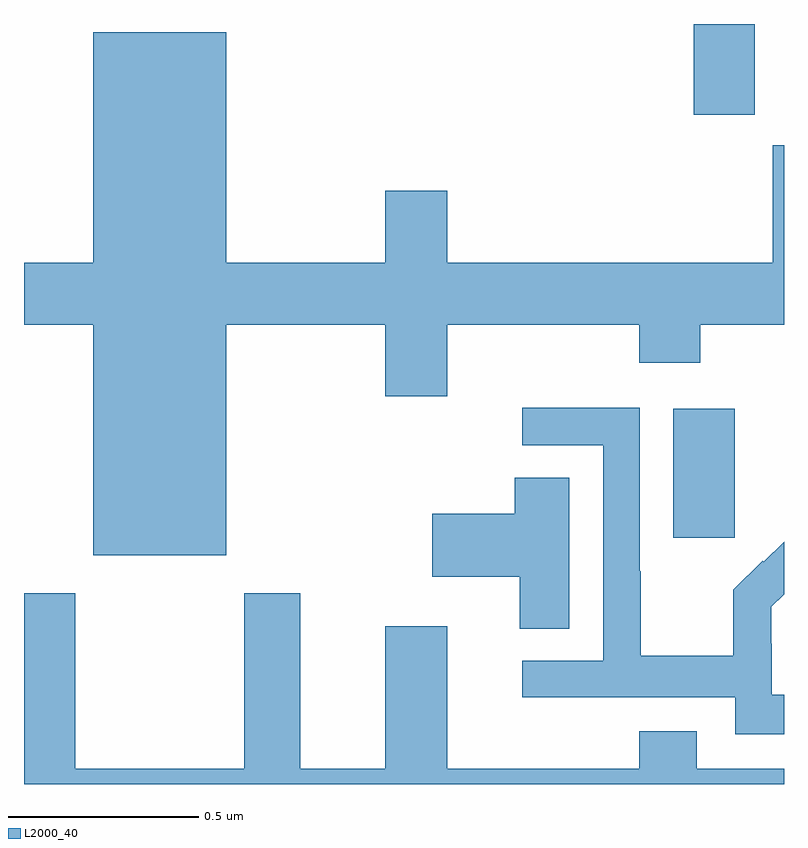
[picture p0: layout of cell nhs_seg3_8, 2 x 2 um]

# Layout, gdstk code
import gdstk
lib = gdstk.Library(unit=1e-6, precision=1e-09)
def R(c, l, rs):  # rectangles x0, y0, x1, y1
    for r in rs: c.add(gdstk.rectangle(r[:2], r[2:], *l))
def P(c, l, *ps):  # polygons
    for p in ps: c.add(gdstk.Polygon(p, *l))
L2000_40 = (2000, 40)

nhs_seg3_8 = lib.new_cell('nhs_seg3_8')
R(nhs_seg3_8, L2000_40, [(112.709,675.048,112.87,675.388), (112.763,676.161,112.923,676.4)])
P(nhs_seg3_8, L2000_40, [(111.532,675.608),(111.95,675.608),(111.95,675.42),(112.114,675.42),(112.114,675.608),(112.619,675.608),(112.619,675.509),(112.779,675.509),(112.779,675.608),(113,675.608),(113,676.081),(112.97,676.081),(112.97,675.772),(112.114,675.772),(112.114,675.961),(111.95,675.961),(111.95,675.772),(111.532,675.772),(111.532,676.378),(111.182,676.378),(111.182,675.772),(111,675.772),(111,675.608),(111.182,675.608),(111.182,675.002),(111.532,675.002)],
  [(113,674.635),(112.968,674.635),(112.968,674.769),(112.966,674.769),(112.966,674.866),(113,674.9),(113,675.038),(112.947,674.985),(112.944,674.988),(112.867,674.911),(112.867,674.737),(112.623,674.737),(112.623,674.96),(112.62,674.96),(112.62,675.39),(112.311,675.39),(112.311,675.291),(112.524,675.291),(112.524,674.724),(112.311,674.724),(112.311,674.628),(112.872,674.628),(112.872,674.531),(113,674.531)],
  [(112.435,675.206),(112.292,675.206),(112.292,675.111),(112.074,675.111),(112.074,674.945),(112.304,674.945),(112.304,674.809),(112.435,674.809)],
  [(113,674.44),(112.771,674.44),(112.771,674.539),(112.619,674.539),(112.619,674.44),(112.114,674.44),(112.114,674.815),(111.95,674.815),(111.95,674.44),(111.727,674.44),(111.727,674.902),(111.58,674.902),(111.58,674.44),(111.135,674.44),(111.135,674.902),(111,674.902),(111,674.4),(113,674.4)])

lib.write_gds('nhs_seg3_8.gds')
